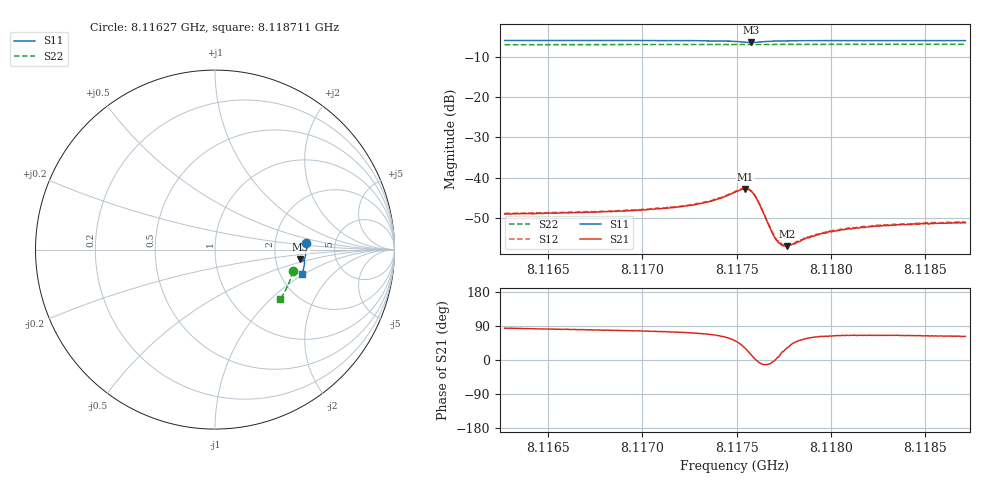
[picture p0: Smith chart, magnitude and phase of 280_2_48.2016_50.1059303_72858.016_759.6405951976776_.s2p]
#  HZ  S  RI  R  50.00
! Rohde & Schwarz Vector Network Analyzer
! Rohde-Schwarz,ZNB20-2Port,1311601062101988,3.16
! Created: UTC 3/20/2024, 11:48:38 AM
! freq[Hz]  re:S11  im:S11  re:S21  im:S21  re:S12  im:S12  re:S22  im:S22
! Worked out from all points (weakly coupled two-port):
!   401 points, 8.11627 GHz to 8.118711 GHz, reference 50 ohm
!   highest |S21| = -42.79 dB at 8.117546 GHz (marker M1); lowest = -57.0 dB at 8.117765 GHz (marker M2)
!   lowest |S11| = -6.4 dB at 8.117576 GHz (marker M3), VSWR 2.84, Z = 139 - j19.4 ohm
!   |S11| at or under -10 dB: nowhere
!   |S22| runs from -7.0 to -6.8 dB; largest |S21 - S12| = 0.00019
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8.1162702e9  0.5057 0.0381  0.000378 0.00353  0.000506 0.00359  0.4327 -0.12
8.1166791e9  0.5064 0.00695  0.000646 0.00362  0.0007 0.0037  0.4255 -0.1476
8.117088e9  0.5049 -0.0249  0.00104 0.00396  0.00111 0.00401  0.4163 -0.1745
8.1172162e9  0.5034 -0.0357  0.00131 0.00422  0.00137 0.00427  0.4131 -0.1827
8.1173138e9  0.5016 -0.0445  0.00166 0.00451  0.0018 0.00455  0.4103 -0.1892
8.1174115e9  0.4979 -0.0544  0.00246 0.00495  0.00256 0.00504  0.4077 -0.1955
8.1174908e9  0.4898 -0.062  0.00418 0.00513  0.0043 0.00519  0.4051 -0.2006
8.1175457e9  0.4789 -0.0609  0.00624 0.00369  0.00642 0.00366  0.403 -0.2036
8.1175763e9  0.4757 -0.0539  0.00659 0.00159  0.00672 0.00156  0.4021 -0.2053
8.1175946e9  0.4774 -0.0493  0.00602 0.000383  0.00617 0.000343  0.4017 -0.2061
8.1176129e9  0.481 -0.0464  0.00506 -0.000395  0.00518 -0.00046  0.4014 -0.2071
8.11768e9  0.4935 -0.0496  0.00225 -0.000351  0.00227 -0.000342  0.4001 -0.2114
8.1177044e9  0.4956 -0.0527  0.00175 1.19e-05  0.00177 3.39e-05  0.3995 -0.2132
8.1177166e9  0.4963 -0.0542  0.0016 0.000193  0.00168 0.000164  0.3991 -0.2139
8.1177349e9  0.4973 -0.0566  0.00141 0.000446  0.00148 0.000433  0.3985 -0.2151
8.1177654e9  0.4982 -0.0601  0.00121 0.000744  0.00125 0.000735  0.3978 -0.2171
8.1178021e9  0.4987 -0.0642  0.00106 0.00107  0.00106 0.00109  0.3966 -0.2195
8.1178997e9  0.4987 -0.0737  0.000961 0.00161  0.000988 0.00162  0.3935 -0.2256
8.117979e9  0.4979 -0.0806  0.000955 0.00184  0.000997 0.00189  0.3909 -0.2307
8.118095e9  0.4966 -0.0902  0.001 0.00211  0.00104 0.00214  0.3869 -0.2378
8.1183086e9  0.4934 -0.1067  0.00109 0.00231  0.00113 0.00234  0.3795 -0.2507
8.1187114e9  0.4857 -0.1364  0.00128 0.00244  0.00133 0.00252  0.3639 -0.2746
